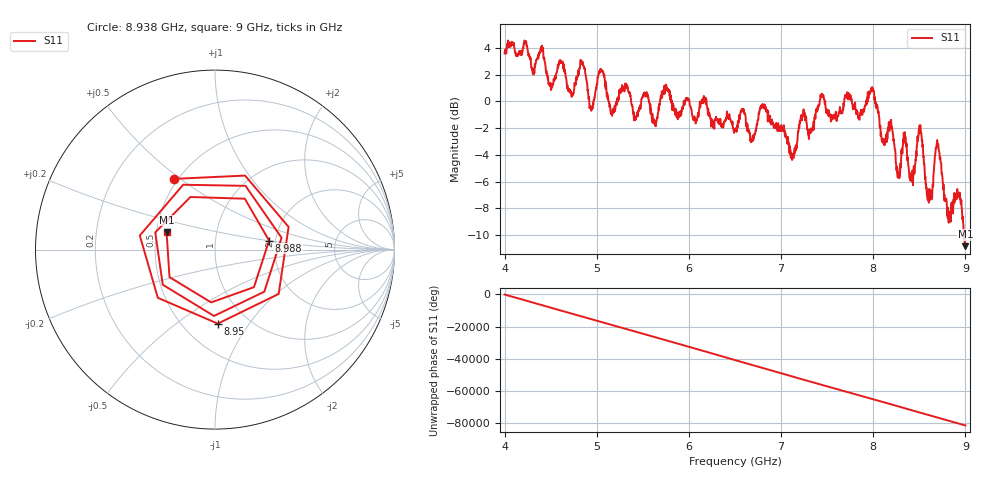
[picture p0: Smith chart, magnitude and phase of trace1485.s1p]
! Created with skrf 1.8.0 (http://scikit-rf.org).
# Hz S RI R 50.0
!freq ReS11 ImS11
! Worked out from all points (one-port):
!   1601 points, 4 GHz to 9 GHz, reference 50 ohm
!   lowest |S11| = -10.8 dB at 9 GHz (marker M1), VSWR 1.81, Z = 28.3 + j6.06 ohm
!   |S11| at or under -10 dB: 8.986112 GHz to end of sweep
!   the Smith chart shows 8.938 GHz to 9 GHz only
!   S11 on the Smith chart (normalised r, x): 8.938 GHz: 0.47, +0.47; 8.95 GHz: 0.73, -0.72; 8.988 GHz: 1.85, +0.20; 9 GHz: 0.57, +0.12
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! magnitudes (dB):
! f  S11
! 4 GHz  3.6
! 4.4 GHz  3.7
! 4.503 GHz  0.8
! 4.625 GHz  3.0
! 4.725 GHz  0.4
! 4.847 GHz  2.9
! 4.938 GHz  -0.4
! 5.044 GHz  2.4
! 5.162 GHz  -0.8
! 5.25 GHz  0.6
! 5.875 GHz  -1.0
! 6.5 GHz  -2.2
! 6.809 GHz  -0.5
! 7.125 GHz  -4.2
! 7.444 GHz  0.6
! 7.75 GHz  0.2
! 7.994 GHz  0.8
! 8.269 GHz  -5.4
! 8.375 GHz  -4.5
! 8.425 GHz  -5.2
! 8.506 GHz  -2.3
! 8.6 GHz  -7.2
! 8.694 GHz  -2.9
! 8.819 GHz  -9.1
! 8.938 GHz  -6.8
! 8.95 GHz  -7.7
! 8.988 GHz  -10.3
! 9 GHz  -10.8
